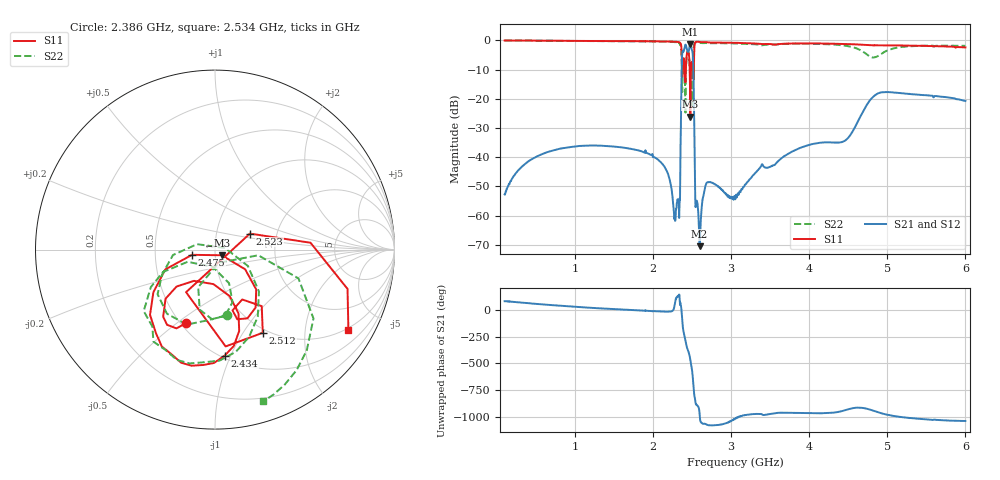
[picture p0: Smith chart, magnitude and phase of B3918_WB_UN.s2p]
! Matrix data file written by TouchstoneData, EPCOS AG
! FILENAME: "B3918.PCB3.WB.snp"
! COMMENT: "(TS/B3918.PCB3.WB.s2p)"
! INFO: nport=2, nfreq=1601
! DATE: "Fri Dec  6 11:20:08 2013"
! USER: "Dan Wang"
! port | pin | signal
!  1  |  2  |  Input
!  2  |  5  |  Output
# MHZ S RI R 50
! freq  reS11 imS11  reS21 imS21  reS12 imS12  reS22 imS22
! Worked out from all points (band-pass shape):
!   1601 points, 100 MHz to 6 GHz, reference 50 ohm
!   highest |S21| = -1.32 dB at 2.475 GHz (marker M1); lowest = -70.5 dB at 2.596 GHz (marker M2)
!   |S21| within 3 dB of the highest: 2.375 GHz to 2.507 GHz (132.1 MHz wide, 5.41 % of centre)
!   lowest |S11| = -26.1 dB at 2.478 GHz (marker M3), VSWR 1.10, Z = 53.8 - j3.41 ohm
!   |S11| at or under -10 dB: 2.372459 GHz to 2.37982 GHz (7.361 MHz wide, 0.31 % of centre); 2.407 GHz to 2.421 GHz (13.63 MHz wide, 0.564 % of centre); 2.47 GHz to 2.486 GHz (15.32 MHz wide, 0.618 % of centre) (the widest 3 of 4)
!   |S22| runs from -24.7 to 0.0 dB; largest |S21 - S12| = 0
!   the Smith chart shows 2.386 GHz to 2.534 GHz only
!   S11 on the Smith chart (normalised r, x): 2.386 GHz: 0.53, -0.54; 2.434 GHz: 0.52, -0.95; 2.475 GHz: 0.77, -0.05; 2.512 GHz: 0.95, -1.23; 2.523 GHz: 1.45, +0.27; 2.534 GHz: 0.92, -3.36
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100  0.993 -0.1039  0.000291 0.00229  0.000291 0.00229  0.99 -0.1289
431.875  0.903 -0.4184  0.00427 0.00787  0.00427 0.00787  0.8532 -0.5127
1084.562  0.5338 -0.8239  0.0141 0.00683  0.0141 0.00683  0.3153 -0.9262
2069.125  -0.0736 -0.9602  0.00872 -0.002  0.00872 -0.002  -0.4945 -0.8191
2312.5  -0.4345 -0.8338  -0.00115 0.00148  -0.00115 0.00148  -0.8757 -0.3113
2334.625  -0.5452 -0.7506  -0.000741 0.000527  -0.000741 0.000527  -0.8901 -0.0649
2386.25  -0.1636 -0.4108  -0.6485 0.0323  -0.6485 0.0323  0.066 -0.366
2434.188  0.0541 -0.5906  0.6899 0.1161  0.6899 0.1161  0.1167 -0.569
2474.75  -0.1274 -0.029  -0.0301 -0.8582  -0.0301 -0.8582  -0.1525 -0.068
2478.438  0.0378 -0.0316  -0.2668 -0.8141  -0.2668 -0.8141  -0.0127 -0.0963
2511.625  0.2662 -0.4636  0.148 0.4672  0.148 0.4672  0.465 -0.1604
2522.688  0.1946 0.0891  0.1062 -0.0701  0.1062 -0.0701  0.4539 -0.6728
2533.75  0.7433 -0.4484  -0.000976 -0.0095  -0.000976 -0.0095  0.2683 -0.8462
2566.938  0.3495 -0.8838  -0.00166 -0.000179  -0.00166 -0.000179  -0.0751 -0.9117
2596.438  0.1949 -0.9183  -0.000102 0.000281  -0.000102 0.000281  -0.1976 -0.8805
2703.375  -0.015 -0.9261  0.00373 0.000169  0.00373 0.000169  -0.4026 -0.8011
3050  -0.2503 -0.8749  0.001 0.00164  0.001 0.00164  -0.6192 -0.6351
4034.562  -0.6624 -0.5946  -0.0066 0.0154  -0.0066 0.0154  -0.8658 -0.134
4458.625  -0.808 -0.3241  -0.015 0.012  -0.015 0.012  -0.7897 0.2001
4786.812  -0.8238 -0.0724  -0.0801 0.0557  -0.0801 0.0557  -0.477 0.2124
5019.125  -0.8187 0.0812  -0.0137 0.1297  -0.0137 0.1297  -0.6717 0.1433
6000  -0.3965 0.6474  0.0694 0.06  0.0694 0.06  -0.3082 0.7471
